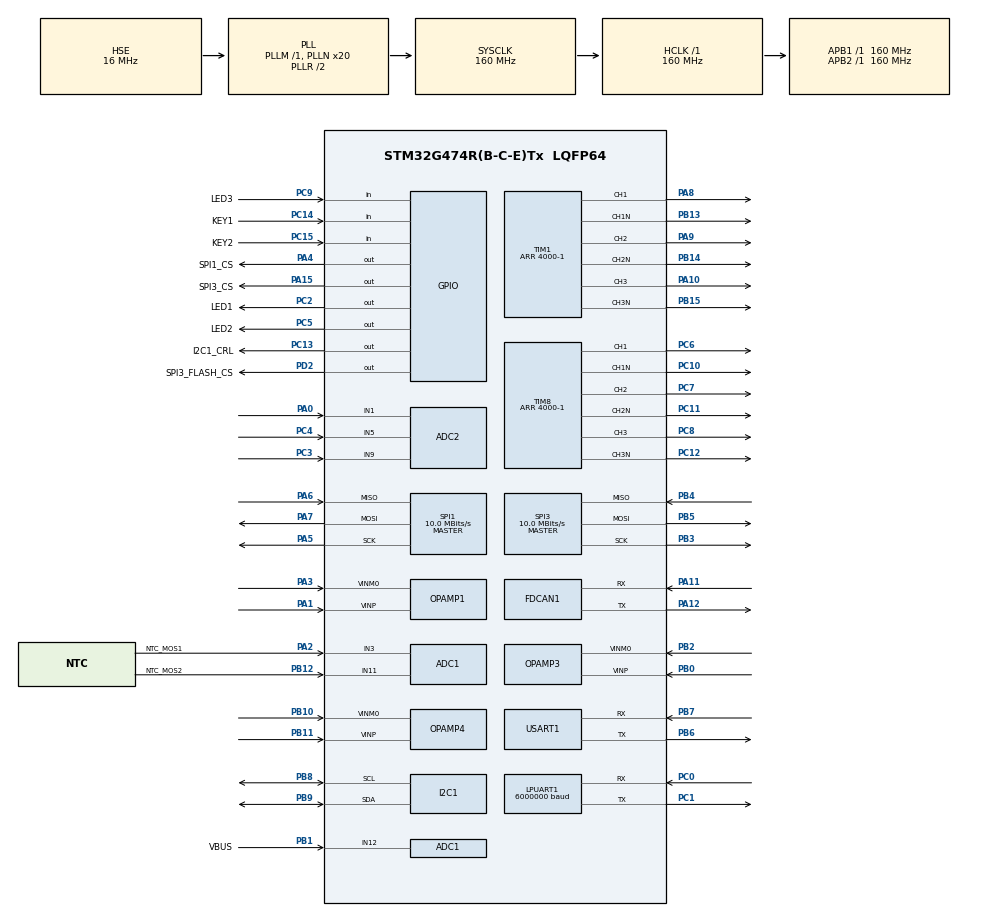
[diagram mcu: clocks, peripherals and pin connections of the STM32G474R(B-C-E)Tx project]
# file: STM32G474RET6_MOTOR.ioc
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ADC1.EnableInjectedConversion=ENABLE
ADC1.EnableRegularConversion=DISABLE
ADC1.ExternalTrigInjecConv=ADC_EXTERNALTRIGINJEC_T1_CC4
ADC1.InjNumberOfConversion=1
ADC1.InjectedChannel-4\#ChannelInjectedConversion=ADC_CHANNEL_VOPAMP1
ADC1.InjectedOffsetNumber-4\#ChannelInjectedConversion=ADC_OFFSET_NONE
ADC1.InjectedRank-4\#ChannelInjectedConversion=1
ADC1.InjectedSamplingTime-4\#ChannelInjectedConversion=ADC_SAMPLETIME_24CYCLES_5
ADC1.Rank1_Channel=ADC_CHANNEL_VOPAMP1
ADC1.master=1
ADC2.Channel-2\#ChannelRegularConversion=ADC_CHANNEL_1
ADC2.EnableInjectedConversion=ENABLE
ADC2.ExternalTrigInjecConv=ADC_EXTERNALTRIGINJEC_T8_CC4
ADC2.InjNumberOfConversion=3
ADC2.InjectedChannel-5\#ChannelInjectedConversion=ADC_CHANNEL_9
ADC2.InjectedChannel-6\#ChannelInjectedConversion=ADC_CHANNEL_1
ADC2.InjectedChannel-7\#ChannelInjectedConversion=ADC_CHANNEL_5
ADC2.InjectedOffsetNumber-5\#ChannelInjectedConversion=ADC_OFFSET_NONE
ADC2.InjectedOffsetNumber-6\#ChannelInjectedConversion=ADC_OFFSET_NONE
ADC2.InjectedOffsetNumber-7\#ChannelInjectedConversion=ADC_OFFSET_NONE
ADC2.InjectedRank-5\#ChannelInjectedConversion=1
ADC2.InjectedRank-6\#ChannelInjectedConversion=2
ADC2.InjectedRank-7\#ChannelInjectedConversion=3
ADC2.InjectedSamplingTime-5\#ChannelInjectedConversion=ADC_SAMPLETIME_24CYCLES_5
ADC2.InjectedSamplingTime-6\#ChannelInjectedConversion=ADC_SAMPLETIME_24CYCLES_5
ADC2.InjectedSamplingTime-7\#ChannelInjectedConversion=ADC_SAMPLETIME_24CYCLES_5
ADC2.NbrOfConversion=1
ADC2.NbrOfConversionFlag=1
ADC2.OffsetNumber-2\#ChannelRegularConversion=ADC_OFFSET_NONE
ADC2.Rank-2\#ChannelRegularConversion=1
ADC2.Rank1_Channel=ADC_CHANNEL_9
ADC2.Rank2_Channel=ADC_CHANNEL_1
ADC2.Rank3_Channel=ADC_CHANNEL_5
ADC2.SamplingTime-2\#ChannelRegularConversion=ADC_SAMPLETIME_2CYCLES_5
ADC3.EnableInjectedConversion=ENABLE
ADC3.EnableRegularConversion=DISABLE
ADC3.ExternalTrigInjecConv=ADC_EXTERNALTRIGINJEC_T1_CC4
ADC3.InjNumberOfConversion=1
ADC3.InjectedChannel-3\#ChannelInjectedConversion=ADC_CHANNEL_VOPAMP3_ADC3
ADC3.InjectedOffsetNumber-3\#ChannelInjectedConversion=ADC_OFFSET_NONE
ADC3.InjectedRank-3\#ChannelInjectedConversion=1
ADC3.InjectedSamplingTime-3\#ChannelInjectedConversion=ADC_SAMPLETIME_24CYCLES_5
ADC3.Rank1_Channel=ADC_CHANNEL_VOPAMP3_ADC3
ADC3.master=1
ADC5.EnableInjectedConversion=ENABLE
ADC5.EnableRegularConversion=DISABLE
ADC5.ExternalTrigInjecConv=ADC_EXTERNALTRIGINJEC_T1_CC4
ADC5.InjNumberOfConversion=1
ADC5.InjectedChannel-1\#ChannelInjectedConversion=ADC_CHANNEL_VOPAMP4
ADC5.InjectedOffsetNumber-1\#ChannelInjectedConversion=ADC_OFFSET_NONE
ADC5.InjectedRank-1\#ChannelInjectedConversion=1
ADC5.InjectedSamplingTime-1\#ChannelInjectedConversion=ADC_SAMPLETIME_24CYCLES_5
ADC5.Rank1_Channel=ADC_CHANNEL_VOPAMP4
Dma.LPUART1_RX.7.Direction=DMA_PERIPH_TO_MEMORY
Dma.LPUART1_RX.7.EventEnable=DISABLE
Dma.LPUART1_RX.7.Instance=DMA1_Channel8
Dma.LPUART1_RX.7.MemDataAlignment=DMA_MDATAALIGN_BYTE
Dma.LPUART1_RX.7.MemInc=DMA_MINC_ENABLE
Dma.LPUART1_RX.7.Mode=DMA_CIRCULAR
Dma.LPUART1_RX.7.PeriphDataAlignment=DMA_PDATAALIGN_BYTE
Dma.LPUART1_RX.7.PeriphInc=DMA_PINC_DISABLE
Dma.LPUART1_RX.7.Polarity=HAL_DMAMUX_REQ_GEN_RISING
Dma.LPUART1_RX.7.Priority=DMA_PRIORITY_LOW
Dma.LPUART1_RX.7.RequestNumber=1
Dma.LPUART1_RX.7.SignalID=NONE
Dma.LPUART1_RX.7.SyncEnable=DISABLE
Dma.LPUART1_RX.7.SyncPolarity=HAL_DMAMUX_SYNC_NO_EVENT
Dma.LPUART1_RX.7.SyncRequestNumber=1
Dma.LPUART1_RX.7.SyncSignalID=NONE
Dma.LPUART1_TX.0.Direction=DMA_MEMORY_TO_PERIPH
Dma.LPUART1_TX.0.EventEnable=DISABLE
Dma.LPUART1_TX.0.Instance=DMA1_Channel1
Dma.LPUART1_TX.0.MemDataAlignment=DMA_MDATAALIGN_BYTE
Dma.LPUART1_TX.0.MemInc=DMA_MINC_ENABLE
Dma.LPUART1_TX.0.Mode=DMA_NORMAL
Dma.LPUART1_TX.0.PeriphDataAlignment=DMA_PDATAALIGN_BYTE
Dma.LPUART1_TX.0.PeriphInc=DMA_PINC_DISABLE
Dma.LPUART1_TX.0.Polarity=HAL_DMAMUX_REQ_GEN_RISING
Dma.LPUART1_TX.0.Priority=DMA_PRIORITY_LOW
Dma.LPUART1_TX.0.RequestNumber=1
Dma.LPUART1_TX.0.SignalID=NONE
Dma.LPUART1_TX.0.SyncEnable=DISABLE
Dma.LPUART1_TX.0.SyncPolarity=HAL_DMAMUX_SYNC_NO_EVENT
Dma.LPUART1_TX.0.SyncRequestNumber=1
Dma.LPUART1_TX.0.SyncSignalID=NONE
Dma.Request0=LPUART1_TX
Dma.Request1=SPI1_RX
Dma.Request2=SPI1_TX
Dma.Request3=USART1_TX
Dma.Request4=USART1_RX
Dma.Request5=SPI3_RX
Dma.Request6=SPI3_TX
Dma.Request7=LPUART1_RX
Dma.SPI1_RX.1.Direction=DMA_PERIPH_TO_MEMORY
Dma.SPI1_RX.1.EventEnable=DISABLE
Dma.SPI1_RX.1.Instance=DMA1_Channel2
Dma.SPI1_RX.1.MemDataAlignment=DMA_MDATAALIGN_HALFWORD
Dma.SPI1_RX.1.MemInc=DMA_MINC_ENABLE
Dma.SPI1_RX.1.Mode=DMA_NORMAL
Dma.SPI1_RX.1.PeriphDataAlignment=DMA_PDATAALIGN_HALFWORD
Dma.SPI1_RX.1.PeriphInc=DMA_PINC_DISABLE
Dma.SPI1_RX.1.Polarity=HAL_DMAMUX_REQ_GEN_RISING
Dma.SPI1_RX.1.Priority=DMA_PRIORITY_LOW
Dma.SPI1_RX.1.RequestNumber=1
Dma.SPI1_RX.1.SignalID=NONE
Dma.SPI1_RX.1.SyncEnable=DISABLE
Dma.SPI1_RX.1.SyncPolarity=HAL_DMAMUX_SYNC_NO_EVENT
Dma.SPI1_RX.1.SyncRequestNumber=1
Dma.SPI1_RX.1.SyncSignalID=NONE
Dma.SPI1_TX.2.Direction=DMA_MEMORY_TO_PERIPH
Dma.SPI1_TX.2.EventEnable=DISABLE
Dma.SPI1_TX.2.Instance=DMA1_Channel3
Dma.SPI1_TX.2.MemDataAlignment=DMA_MDATAALIGN_HALFWORD
Dma.SPI1_TX.2.MemInc=DMA_MINC_ENABLE
Dma.SPI1_TX.2.Mode=DMA_NORMAL
Dma.SPI1_TX.2.PeriphDataAlignment=DMA_PDATAALIGN_HALFWORD
Dma.SPI1_TX.2.PeriphInc=DMA_PINC_DISABLE
Dma.SPI1_TX.2.Polarity=HAL_DMAMUX_REQ_GEN_RISING
Dma.SPI1_TX.2.Priority=DMA_PRIORITY_LOW
Dma.SPI1_TX.2.RequestNumber=1
Dma.SPI1_TX.2.SignalID=NONE
Dma.SPI1_TX.2.SyncEnable=DISABLE
Dma.SPI1_TX.2.SyncPolarity=HAL_DMAMUX_SYNC_NO_EVENT
Dma.SPI1_TX.2.SyncRequestNumber=1
Dma.SPI1_TX.2.SyncSignalID=NONE
Dma.SPI3_RX.5.Direction=DMA_PERIPH_TO_MEMORY
Dma.SPI3_RX.5.EventEnable=DISABLE
Dma.SPI3_RX.5.Instance=DMA1_Channel6
Dma.SPI3_RX.5.MemDataAlignment=DMA_MDATAALIGN_HALFWORD
Dma.SPI3_RX.5.MemInc=DMA_MINC_ENABLE
Dma.SPI3_RX.5.Mode=DMA_NORMAL
Dma.SPI3_RX.5.PeriphDataAlignment=DMA_PDATAALIGN_HALFWORD
Dma.SPI3_RX.5.PeriphInc=DMA_PINC_DISABLE
Dma.SPI3_RX.5.Polarity=HAL_DMAMUX_REQ_GEN_RISING
Dma.SPI3_RX.5.Priority=DMA_PRIORITY_LOW
Dma.SPI3_RX.5.RequestNumber=1
Dma.SPI3_RX.5.SignalID=NONE
Dma.SPI3_RX.5.SyncEnable=DISABLE
Dma.SPI3_RX.5.SyncPolarity=HAL_DMAMUX_SYNC_NO_EVENT
Dma.SPI3_RX.5.SyncRequestNumber=1
Dma.SPI3_RX.5.SyncSignalID=NONE
Dma.SPI3_TX.6.Direction=DMA_MEMORY_TO_PERIPH
Dma.SPI3_TX.6.EventEnable=DISABLE
Dma.SPI3_TX.6.Instance=DMA1_Channel7
Dma.SPI3_TX.6.MemDataAlignment=DMA_MDATAALIGN_HALFWORD
Dma.SPI3_TX.6.MemInc=DMA_MINC_ENABLE
Dma.SPI3_TX.6.Mode=DMA_NORMAL
Dma.SPI3_TX.6.PeriphDataAlignment=DMA_PDATAALIGN_HALFWORD
Dma.SPI3_TX.6.PeriphInc=DMA_PINC_DISABLE
Dma.SPI3_TX.6.Polarity=HAL_DMAMUX_REQ_GEN_RISING
Dma.SPI3_TX.6.Priority=DMA_PRIORITY_LOW
Dma.SPI3_TX.6.RequestNumber=1
Dma.SPI3_TX.6.SignalID=NONE
Dma.SPI3_TX.6.SyncEnable=DISABLE
Dma.SPI3_TX.6.SyncPolarity=HAL_DMAMUX_SYNC_NO_EVENT
Dma.SPI3_TX.6.SyncRequestNumber=1
Dma.SPI3_TX.6.SyncSignalID=NONE
Dma.USART1_RX.4.Direction=DMA_PERIPH_TO_MEMORY
Dma.USART1_RX.4.EventEnable=DISABLE
Dma.USART1_RX.4.Instance=DMA1_Channel5
Dma.USART1_RX.4.MemDataAlignment=DMA_MDATAALIGN_BYTE
Dma.USART1_RX.4.MemInc=DMA_MINC_ENABLE
Dma.USART1_RX.4.Mode=DMA_CIRCULAR
Dma.USART1_RX.4.PeriphDataAlignment=DMA_PDATAALIGN_BYTE
Dma.USART1_RX.4.PeriphInc=DMA_PINC_DISABLE
Dma.USART1_RX.4.Polarity=HAL_DMAMUX_REQ_GEN_RISING
Dma.USART1_RX.4.Priority=DMA_PRIORITY_LOW
Dma.USART1_RX.4.RequestNumber=1
Dma.USART1_RX.4.SignalID=NONE
Dma.USART1_RX.4.SyncEnable=DISABLE
Dma.USART1_RX.4.SyncPolarity=HAL_DMAMUX_SYNC_NO_EVENT
Dma.USART1_RX.4.SyncRequestNumber=1
Dma.USART1_RX.4.SyncSignalID=NONE
Dma.USART1_TX.3.Direction=DMA_MEMORY_TO_PERIPH
Dma.USART1_TX.3.EventEnable=DISABLE
Dma.USART1_TX.3.Instance=DMA1_Channel4
Dma.USART1_TX.3.MemDataAlignment=DMA_MDATAALIGN_BYTE
Dma.USART1_TX.3.MemInc=DMA_MINC_ENABLE
Dma.USART1_TX.3.Mode=DMA_NORMAL
Dma.USART1_TX.3.PeriphDataAlignment=DMA_PDATAALIGN_BYTE
Dma.USART1_TX.3.PeriphInc=DMA_PINC_DISABLE
Dma.USART1_TX.3.Polarity=HAL_DMAMUX_REQ_GEN_RISING
Dma.USART1_TX.3.Priority=DMA_PRIORITY_LOW
Dma.USART1_TX.3.RequestNumber=1
Dma.USART1_TX.3.SignalID=NONE
Dma.USART1_TX.3.SyncEnable=DISABLE
Dma.USART1_TX.3.SyncPolarity=HAL_DMAMUX_SYNC_NO_EVENT
Dma.USART1_TX.3.SyncRequestNumber=1
Dma.USART1_TX.3.SyncSignalID=NONE
FDCAN1.CalculateBaudRateNominal=1000000
FDCAN1.CalculateTimeBitNominal=1000
FDCAN1.CalculateTimeQuantumNominal=62.5
FDCAN1.DataPrescaler=2
FDCAN1.DataTimeSeg1=13
FDCAN1.DataTimeSeg2=2
FDCAN1.FrameFormat=FDCAN_FRAME_FD_BRS
FDCAN1.NominalPrescaler=10
FDCAN1.NominalSyncJumpWidth=3
FDCAN1.NominalTimeSeg1=12
FDCAN1.NominalTimeSeg2=3
FDCAN1.StdFiltersNbr=28
FREERTOS.Tasks01=defaultTask,24,128,StartDefaultTask,Default,NULL,Dynamic,NULL,NULL;UART_DMA_DEBUG,40,128,UART_DMA_DEBUG_TASK,As weak,NULL,Dynamic,NULL,NULL;CLI_ShellTask,8,256,CLI_Shell_Task,As weak,NULL,Dynamic,NULL,NULL
FREERTOS.configCHECK_FOR_STACK_OVERFLOW=2
FREERTOS.configLIBRARY_MAX_SYSCALL_INTERRUPT_PRIORITY=5
FREERTOS.configTOTAL_HEAP_SIZE=8192
FREERTOS.configUSE_MALLOC_FAILED_HOOK=1
I2C1.Timing=0x30D29DE4
LPUART1.BaudRate=6000000
Mcu.Family=STM32G4
Mcu.Name=STM32G474R(B-C-E)Tx
Mcu.Package=LQFP64
NVIC.ADC1_2_IRQn=true\:2\:0\:true\:false\:true\:false\:true\:true\:true
NVIC.ADC3_IRQn=true\:2\:0\:true\:false\:true\:false\:true\:true\:true
NVIC.ADC5_IRQn=true\:2\:0\:true\:false\:true\:false\:true\:true\:true
NVIC.DMA1_Channel1_IRQn=true\:4\:0\:true\:false\:true\:false\:false\:true\:true
NVIC.DMA1_Channel2_IRQn=true\:2\:0\:true\:false\:false\:false\:false\:true\:true
NVIC.DMA1_Channel3_IRQn=true\:2\:0\:true\:false\:false\:false\:false\:true\:true
NVIC.DMA1_Channel4_IRQn=true\:5\:0\:true\:false\:true\:false\:false\:true\:true
NVIC.DMA1_Channel5_IRQn=true\:5\:0\:true\:false\:true\:false\:false\:true\:true
NVIC.DMA1_Channel6_IRQn=true\:5\:0\:false\:false\:true\:true\:false\:true\:true
NVIC.DMA1_Channel7_IRQn=true\:5\:0\:false\:false\:true\:true\:false\:true\:true
NVIC.DMA1_Channel8_IRQn=true\:5\:0\:false\:false\:true\:true\:false\:true\:true
NVIC.FDCAN1_IT0_IRQn=true\:3\:0\:true\:false\:true\:false\:true\:true\:true
NVIC.LPUART1_IRQn=true\:4\:0\:true\:false\:true\:false\:true\:true\:true
NVIC.PriorityGroup=NVIC_PRIORITYGROUP_4
NVIC.TIM1_BRK_TIM15_IRQn=true\:1\:0\:true\:false\:true\:false\:true\:true\:true
NVIC.TIM1_UP_TIM16_IRQn=true\:1\:0\:true\:false\:true\:false\:true\:true\:true
NVIC.TIM6_DAC_IRQn=true\:3\:0\:true\:false\:true\:false\:true\:true\:true
NVIC.TIM7_DAC_IRQn=true\:15\:0\:false\:false\:true\:false\:false\:true\:true
NVIC.TIM8_BRK_IRQn=true\:1\:0\:true\:false\:true\:false\:true\:true\:true
NVIC.TIM8_UP_IRQn=true\:1\:0\:true\:false\:true\:false\:true\:true\:true
NVIC.TimeBase=TIM7_DAC_IRQn
NVIC.TimeBaseIP=TIM7
NVIC.USART1_IRQn=true\:4\:0\:true\:false\:true\:false\:true\:true\:true
OPAMP1.PgaGain=OPAMP_PGA_GAIN_8_OR_MINUS_7
OPAMP3.PgaGain=OPAMP_PGA_GAIN_8_OR_MINUS_7
OPAMP4.PgaGain=OPAMP_PGA_GAIN_8_OR_MINUS_7
OPAMP4.PowerMode=OPAMP_POWERMODE_NORMALSPEED
PA0.Mode=IN1-Single-Ended
PA0.Signal=ADC2_IN1
PA1.Mode=PGA Internally connected_IO0_BIAS
PA1.Signal=OPAMP1_VINP
PA10.Signal=S_TIM1_CH3
PA11.GPIO_Speed=GPIO_SPEED_FREQ_VERY_HIGH
PA11.Mode=FDCAN_Activate
PA11.Signal=FDCAN1_RX
PA12.GPIO_Speed=GPIO_SPEED_FREQ_VERY_HIGH
PA12.Mode=FDCAN_Activate
PA12.Signal=FDCAN1_TX
PA13.Mode=Serial_Wire
PA13.Signal=SYS_JTMS-SWDIO
PA14.Mode=Serial_Wire
PA14.Signal=SYS_JTCK-SWCLK
PA15.GPIO_Label=SPI3_CS
PA15.GPIO_PuPd=GPIO_PULLUP
PA15.GPIO_Speed=GPIO_SPEED_FREQ_VERY_HIGH
PA15.PinState=GPIO_PIN_SET
PA15.Signal=GPIO_Output
PA2.GPIO_Label=NTC_MOS1
PA2.Mode=IN3-Single-Ended
PA2.Signal=ADC1_IN3
PA3.Mode=PGA Internally connected_IO0_BIAS
PA3.Signal=OPAMP1_VINM0
PA4.GPIO_Label=SPI1_CS
PA4.GPIO_Speed=GPIO_SPEED_FREQ_VERY_HIGH
PA4.Signal=GPIO_Output
PA5.GPIO_Speed=GPIO_SPEED_FREQ_VERY_HIGH
PA5.Mode=Full_Duplex_Master
PA5.Signal=SPI1_SCK
PA6.GPIO_Speed=GPIO_SPEED_FREQ_VERY_HIGH
PA6.Mode=Full_Duplex_Master
PA6.Signal=SPI1_MISO
PA7.GPIO_Speed=GPIO_SPEED_FREQ_VERY_HIGH
PA7.Mode=Full_Duplex_Master
PA7.Signal=SPI1_MOSI
PA8.Signal=S_TIM1_CH1
PA9.Signal=S_TIM1_CH2
PB0.Mode=PGA Internally connected_IO0_BIAS
PB0.Signal=OPAMP3_VINP
PB1.GPIO_Label=VBUS
PB1.Mode=IN12-Single-Ended
PB1.Signal=ADC1_IN12
PB10.Mode=PGA Internally connected_IO0_BIAS
PB10.Signal=OPAMP4_VINM0
PB11.Mode=PGA Internally connected_IO0_BIAS
PB11.Signal=OPAMP4_VINP
PB12.GPIO_Label=NTC_MOS2
PB12.Mode=IN11-Single-Ended
PB12.Signal=ADC1_IN11
PB13.Mode=PWM Generation1 CH1 CH1N
PB13.Signal=TIM1_CH1N
PB14.Mode=PWM Generation2 CH2 CH2N
PB14.Signal=TIM1_CH2N
PB15.Mode=PWM Generation3 CH3 CH3N
PB15.Signal=TIM1_CH3N
PB2.Mode=PGA Internally connected_IO0_BIAS
PB2.Signal=OPAMP3_VINM0
PB3.Mode=Full_Duplex_Master
PB3.Signal=SPI3_SCK
PB4.Mode=Full_Duplex_Master
PB4.Signal=SPI3_MISO
PB5.Mode=Full_Duplex_Master
PB5.Signal=SPI3_MOSI
PB6.Mode=Asynchronous
PB6.Signal=USART1_TX
PB7.Mode=Asynchronous
PB7.Signal=USART1_RX
PB8-BOOT0.Mode=I2C
PB8-BOOT0.Signal=I2C1_SCL
PB9.Mode=I2C
PB9.Signal=I2C1_SDA
PC0.GPIO_Speed=GPIO_SPEED_FREQ_VERY_HIGH
PC0.Mode=Asynchronous
PC0.Signal=LPUART1_RX
PC1.GPIO_Speed=GPIO_SPEED_FREQ_VERY_HIGH
PC1.Mode=Asynchronous
PC1.Signal=LPUART1_TX
PC10.Mode=PWM Generation1 CH1 CH1N
PC10.Signal=TIM8_CH1N
PC11.Mode=PWM Generation2 CH2 CH2N
PC11.Signal=TIM8_CH2N
PC12.Mode=PWM Generation3 CH3 CH3N
PC12.Signal=TIM8_CH3N
PC13.GPIO_Label=I2C1_CRL
PC13.GPIO_PuPd=GPIO_PULLDOWN
PC13.Signal=GPIO_Output
PC14-OSC32_IN.GPIO_Label=KEY1
PC14-OSC32_IN.Signal=GPIO_Input
PC15-OSC32_OUT.GPIO_Label=KEY2
PC15-OSC32_OUT.Signal=GPIO_Input
PC2.GPIO_Label=LED1
PC2.GPIO_PuPd=GPIO_PULLDOWN
PC2.Signal=GPIO_Output
PC3.Mode=IN9-Single-Ended
PC3.Signal=ADC2_IN9
PC4.Mode=IN5-Single-Ended
PC4.Signal=ADC2_IN5
PC5.GPIO_Label=LED2
PC5.GPIO_PuPd=GPIO_PULLDOWN
PC5.GPIO_Speed=GPIO_SPEED_FREQ_VERY_HIGH
PC5.Signal=GPIO_Output
PC6.Signal=S_TIM8_CH1
PC7.Signal=S_TIM8_CH2
PC8.Signal=S_TIM8_CH3
PC9.GPIO_Label=LED3
PC9.GPIO_PuPd=GPIO_PULLDOWN
PC9.Signal=GPIO_Input
PD2.GPIO_Label=SPI3_FLASH_CS
PD2.GPIO_PuPd=GPIO_PULLUP
PD2.PinState=GPIO_PIN_SET
PD2.Signal=GPIO_Output
PF0-OSC_IN.Mode=HSE-External-Oscillator
PF0-OSC_IN.Signal=RCC_OSC_IN
PF1-OSC_OUT.Mode=HSE-External-Oscillator
PF1-OSC_OUT.Signal=RCC_OSC_OUT
ProjectManager.HeapSize=0x200
ProjectManager.StackSize=0x400
ProjectManager.TargetToolchain=MDK-ARM V5.32
RCC.ADC12Freq_Value=160000000
RCC.ADC345Freq_Value=160000000
RCC.AHBFreq_Value=160000000
RCC.APB1Freq_Value=160000000
RCC.APB1TimFreq_Value=160000000
RCC.APB2Freq_Value=160000000
RCC.APB2TimFreq_Value=160000000
RCC.CortexFreq_Value=160000000
RCC.EXTERNAL_CLOCK_VALUE=12288000
RCC.HCLKFreq_Value=160000000
RCC.HSE_VALUE=16000000
RCC.HSI48_VALUE=48000000
RCC.HSI_VALUE=16000000
RCC.LSE_VALUE=32768
RCC.PLLN=20
RCC.PLLSourceVirtual=RCC_PLLSOURCE_HSE
RCC.SYSCLKFreq_VALUE=160000000
RCC.SYSCLKSource=RCC_SYSCLKSOURCE_PLLCLK
RCC.USBFreq_Value=160000000
RCC.VCOOutputFreq_Value=320000000
SH.S_TIM1_CH1.0=TIM1_CH1,PWM Generation1 CH1 CH1N
SH.S_TIM1_CH2.0=TIM1_CH2,PWM Generation2 CH2 CH2N
SH.S_TIM1_CH3.0=TIM1_CH3,PWM Generation3 CH3 CH3N
SH.S_TIM8_CH1.0=TIM8_CH1,PWM Generation1 CH1 CH1N
SH.S_TIM8_CH2.0=TIM8_CH2,PWM Generation2 CH2 CH2N
SH.S_TIM8_CH3.0=TIM8_CH3,PWM Generation3 CH3 CH3N
SPI1.BaudRatePrescaler=SPI_BAUDRATEPRESCALER_16
SPI1.CLKPhase=SPI_PHASE_2EDGE
SPI1.CalculateBaudRate=10.0 MBits/s
SPI1.DataSize=SPI_DATASIZE_16BIT
SPI1.Direction=SPI_DIRECTION_2LINES
SPI1.Mode=SPI_MODE_MASTER
SPI1.VirtualType=VM_MASTER
SPI3.BaudRatePrescaler=SPI_BAUDRATEPRESCALER_16
SPI3.CLKPhase=SPI_PHASE_2EDGE
SPI3.CLKPolarity=SPI_POLARITY_HIGH
SPI3.CalculateBaudRate=10.0 MBits/s
SPI3.DataSize=SPI_DATASIZE_16BIT
SPI3.Direction=SPI_DIRECTION_2LINES
SPI3.Mode=SPI_MODE_MASTER
SPI3.VirtualType=VM_MASTER
TIM1.BreakFilter=2
TIM1.Channel-PWM\ Generation1\ CH1\ CH1N=TIM_CHANNEL_1
TIM1.Channel-PWM\ Generation2\ CH2\ CH2N=TIM_CHANNEL_2
TIM1.Channel-PWM\ Generation3\ CH3\ CH3N=TIM_CHANNEL_3
TIM1.Channel-PWM\ Generation4\ No\ Output=TIM_CHANNEL_4
TIM1.ClockDivision=TIM_CLOCKDIVISION_DIV4
TIM1.CounterMode=TIM_COUNTERMODE_CENTERALIGNED1
TIM1.DeadTime=120
TIM1.PeriodNoDither=4000-1
TIM1.PulseNoDither_1=2000
TIM1.PulseNoDither_2=2000
TIM1.PulseNoDither_3=2000
TIM1.PulseNoDither_4=2000-2
TIM1.TIM_MasterOutputTrigger=TIM_TRGO_OC4REF
TIM6.AutoReloadPreload=TIM_AUTORELOAD_PRELOAD_ENABLE
TIM6.PeriodNoDither=1999
TIM6.Prescaler=79
TIM8.BreakFilter=2
TIM8.Channel-PWM\ Generation1\ CH1\ CH1N=TIM_CHANNEL_1
TIM8.Channel-PWM\ Generation2\ CH2\ CH2N=TIM_CHANNEL_2
TIM8.Channel-PWM\ Generation3\ CH3\ CH3N=TIM_CHANNEL_3
TIM8.Channel-PWM\ Generation4\ No\ Output=TIM_CHANNEL_4
TIM8.ClockDivision=TIM_CLOCKDIVISION_DIV4
TIM8.CounterMode=TIM_COUNTERMODE_CENTERALIGNED1
TIM8.DeadTime=4
TIM8.PeriodNoDither=4000-1
TIM8.PulseNoDither_1=2000
TIM8.PulseNoDither_2=2000
TIM8.PulseNoDither_3=2000
TIM8.PulseNoDither_4=3000-2
TIM8.TIM_MasterOutputTrigger=TIM_TRGO_OC4REF
USART1.VirtualMode-Asynchronous=VM_ASYNC
VP_ADC1_OPAMP_INTERNAL1.Mode=IN-OPAMP1
VP_ADC1_TempSens_Input.Mode=IN-TempSens
VP_ADC1_Vref_Input.Mode=IN-Vrefint
VP_ADC3_OPAMP_INTERNAL3.Mode=IN-OPAMP3
VP_ADC5_OPAMP_INTERNAL4.Mode=IN-OPAMP4
VP_CORDIC_VS_CORDIC.Mode=CORDIC_Activate
VP_FREERTOS_VS_CMSIS_V2.Mode=CMSIS_V2
VP_SYS_VS_DBSignals.Mode=DisableDeadBatterySignals
VP_SYS_VS_tim7.Mode=TIM7
VP_TIM15_VS_OPM.Mode=OPM_bit
VP_TIM1_VS_ClockSourceINT.Mode=Internal
VP_TIM1_VS_no_output4.Mode=PWM Generation4 No Output
VP_TIM6_VS_ClockSourceINT.Mode=Enable_Timer
VP_TIM8_VS_ClockSourceINT.Mode=Internal
VP_TIM8_VS_no_output4.Mode=PWM Generation4 No Output
board=custom

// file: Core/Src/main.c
/* USER CODE BEGIN Header */
/**
  ******************************************************************************
  * @file           : main.c
  * @brief          : Main program body
  ******************************************************************************
  * @attention
  *
  * Copyright (c) 2026 STMicroelectronics.
  * All rights reserved.
  *
  * This software is licensed under terms that can be found in the LICENSE file
  * in the root directory of this software component.
  * If no LICENSE file comes with this software, it is provided AS-IS.
  *
  ******************************************************************************
  */
/* USER CODE END Header */
#include "main.h"
#include "cmsis_os.h"
#include "adc.h"
#include "cordic.h"
#include "dma.h"
#include "fdcan.h"
#include "i2c.h"
#include "usart.h"
#include "opamp.h"
#include "spi.h"
#include "tim.h"
#include "gpio.h"

/* USER CODE BEGIN Includes */
#include "COMMUNICATION_FDCAN.h"
#include "app_axis_jeoc.h"
#include "board_encoder.h"
#include "encoder.h"
#include "app_uart_dma_debug.h"
#include "bsp_axes.h"
#include "encoder_cal.h"
#include "factory_nvm.h"
#include "irq_priority.h"
#include "motor_current.h"
#include "motor_params_m1.h"
#include "experiment/exp_runner.h"
#include "motor_phase_binding.h"
#include "phase_detect.h"
#include "time_port.h"
/* USER CODE END Includes */

void SystemClock_Config(void);
void MX_FREERTOS_Init(void);

/* USER CODE BEGIN 0 */
/* M1 20kHz 控制节拍�??? ADC2 JEOC；TIM8 �??? PWM+CH4 触发，无 Update IT */
#define BRINGUP_ADC_TEST 1

uint16_t A,B;
volatile uint8_t cnt=0;
/* adc_read[3]: shunt diag buffer in config/bsp_axes.c */

static void dbg_snapshot_opamp_ch(uint8_t idx, OPAMP_TypeDef *opamp)
{
  uint32_t csr = opamp->CSR;
  DBG.opamp[idx].csr = csr;
  DBG.opamp[idx].en = (csr & OPAMP_CSR_OPAMPxEN) ? 1U : 0U;
  DBG.opamp[idx].intout = (csr & OPAMP_CSR_OPAMPINTEN) ? 1U : 0U;
  DBG.opamp[idx].pggain = (uint16_t)((csr & OPAMP_CSR_PGGAIN_Msk) >> OPAMP_CSR_PGGAIN_Pos);
}

static void dbg_snapshot_m1_adc(const bsp_axis_t *m1)
{
  uint8_t i;

  for (i = 0U; i < 3U; i++) {
    DBG.adc_offset[i] = m1->adc_cfg.ch[i].offset;
    DBG.adc_zeroed[i] = (int16_t)((int32_t)m1->adc.raw[i] - m1->adc_cfg.ch[i].offset);
    DBG.adc_reg[i] = m1->adc.raw[i];
  }
  DBG.adc_ia = m1->adc.ia;
  DBG.adc_ib = m1->adc.ib;
  DBG.adc_ic = m1->adc.ic;
}

static void dbg_snapshot_phase_binding(void)
{
  const motor_phase_binding_t *b = motor_phase_binding_get();
  uint8_t i;

  for (i = 0U; i < 3U; i++) {
    DBG.pwm_ch_to_phase_dbg[i] = b->pwm_ch_to_phase[i];
    DBG.adc_rank_to_phase_dbg[i] = b->adc_rank_to_phase[i];
    DBG.phase_sign_dbg[i] = b->phase_sign[i];
  }
}

/** 2325 Test3 sign；rank 排列�?? M1_ADC_RANK_SWAP_IAIC �?? adc.c 注入顺序�??�?? */
static void m1_apply_binding_2325(void)
{
  motor_phase_binding_t b;

  motor_phase_binding_set_identity(&b);
#if M1_ADC_RANK_SWAP_IAIC
  /* JDR1=PC4(ia) JDR2=PA0(ib) JDR3=PC3(ic) */
  b.adc_rank_to_phase[0] = 0U;
  b.adc_rank_to_phase[1] = 1U;
  b.adc_rank_to_phase[2] = 2U;
#else
  /* JDR1=PC3(ic) JDR2=PA0(ib) JDR3=PC4(ia) */
  b.adc_rank_to_phase[0] = 2U;
  b.adc_rank_to_phase[1] = 1U;
  b.adc_rank_to_phase[2] = 0U;
#endif
  b.phase_sign[0] = -1;
  b.phase_sign[1] = -1;
  b.phase_sign[2] = -1;
  motor_phase_binding_set_active(&b, true);
}

static void dbg_snapshot_all(void)
{
  dbg_snapshot_opamp_ch(0, OPAMP1);
  dbg_snapshot_opamp_ch(1, OPAMP3);
  dbg_snapshot_opamp_ch(2, OPAMP4);
  DBG.opamp[0].hal_state = hopamp1.State;
  DBG.opamp[1].hal_state = hopamp3.State;
  DBG.opamp[2].hal_state = hopamp4.State;
  DBG.adc_shunt[0] = adc_read[0];
  DBG.adc_shunt[1] = adc_read[1];
  DBG.adc_shunt[2] = adc_read[2];
  /* M1 adc_reg[] ? app_axis_jeoc_snapshot_m1_adc ???????? */
}
/* USER CODE END 0 */

int main(void)
{

  /* MCU Configuration--------------------------------------------------------*/

  /* Reset of all peripherals, Initializes the Flash interface and the Systick. */
  HAL_Init();

  /* Configure the system clock */
  SystemClock_Config();

  /* Initialize all configured peripherals */
  MX_GPIO_Init();
  MX_DMA_Init();
  MX_SPI1_Init();
  MX_USART1_UART_Init();
  MX_FDCAN1_Init();
  MX_SPI3_Init();
  MX_TIM1_Init();
  MX_TIM8_Init();
  MX_ADC2_Init();
  MX_OPAMP1_Init();
  MX_OPAMP3_Init();
  MX_OPAMP4_Init();
  MX_ADC1_Init();
  MX_ADC3_Init();
  MX_ADC5_Init();
  MX_I2C1_Init();
  MX_LPUART1_UART_Init();
  MX_TIM15_Init();
  MX_CORDIC_Init();
  MX_TIM6_Init();
  /* USER CODE BEGIN 2 */
  irq_priority_apply();
  /* DWT 毫秒口：标定超时先于 telem_bringup_init 也可用�?? */
  time_port_init(SystemCoreClock / 1000000u);
  if (HAL_OPAMP_Start(&hopamp1) != HAL_OK) { Error_Handler(); }
  if (HAL_OPAMP_Start(&hopamp3) != HAL_OK) { Error_Handler(); }
  if (HAL_OPAMP_Start(&hopamp4) != HAL_OK) { Error_Handler(); }
  HAL_Delay(10);
HAL_ADCEx_Calibration_Start(&hadc1,	ADC_SINGLE_ENDED);
HAL_ADCEx_Calibration_Start(&hadc2,	ADC_SINGLE_ENDED);
HAL_ADCEx_Calibration_Start(&hadc3,	ADC_SINGLE_ENDED);
HAL_ADCEx_Calibration_Start(&hadc5,	ADC_SINGLE_ENDED);
	HAL_ADCEx_InjectedStart_IT(&hadc1);
  	__HAL_ADC_CLEAR_FLAG(&hadc1, ADC_FLAG_JEOC);
	HAL_ADCEx_InjectedStart_IT(&hadc2);
	__HAL_ADC_CLEAR_FLAG(&hadc2, ADC_FLAG_JEOC);
	HAL_ADCEx_InjectedStart_IT(&hadc3);
	__HAL_ADC_CLEAR_FLAG(&hadc3, ADC_FLAG_JEOC);
	HAL_ADCEx_InjectedStart_IT(&hadc5);
	__HAL_ADC_CLEAR_FLAG(&hadc5, ADC_FLAG_JEOC);
	bsp_init();
	motor_current_init(bsp_axis(BSP_AXIS_M1));
#if M1_OUTER_IN_TIM6
	/* 2kHz outer-loop timer (TIM6). Must start AFTER motor_current_init(),
	   otherwise the ISR would run the outer loop on an uninitialised ctx. */
	if (HAL_TIM_Base_Start_IT(&htim6) != HAL_OK) {
		Error_Handler();
	}
#endif
#if M1_EXP_FRAMEWORK_ENABLE && \
    (M1_EXP_BOOT_UD_CAL || M1_EXP_BOOT_REV141 || M1_EXP_BOOT_CALIB_CHAIN)
	/* pilot: boot the experiment selected by build switches. */
	exp_runner_init();
#if M1_EXP_BOOT_CALIB_CHAIN
	(void)exp_runner_select(EXP_ID_CALIB_CHAIN);
#elif M1_EXP_BOOT_REV141
	(void)exp_runner_select(EXP_ID_REV141);
#else
	(void)exp_runner_select(EXP_ID_UD_CAL);
#endif
	exp_runner_arm(motor_current_ctx(bsp_axis(BSP_AXIS_M1)));
#endif
	if (!bsp_axis_adc_calibrate_zero(BSP_AXIS_M1, 20, 100, 50)) {
		Error_Handler();
	}
	dbg_snapshot_m1_adc(bsp_axis(BSP_AXIS_M1));
	dbg_snapshot_all();

 FDCAN1_Config();
  /*
   * M2 AS5047?SPI3 / PA15????????????? FOC ???
   * ?????? M1?SPI1/PA4?? board_encoder_m1_init??
   * CS ????????????MX_SPI3_Init ???????? M2?
   */
  HAL_GPIO_WritePin(SPI3_CS_GPIO_Port, SPI3_CS_Pin, GPIO_PIN_SET);
  HAL_GPIO_WritePin(SPI3_FLASH_CS_GPIO_Port, SPI3_FLASH_CS_Pin, GPIO_PIN_SET);
  telem_bringup_init();
  telem_encoder_profile_bind(bsp_axis(BSP_AXIS_M1)->enc);

  /* M1: TIM8 PWM + CH4→ADC2；锁转子标定须在 Base+CH4+�??? PWM 运行后进�??? */
  HAL_TIM_PWM_Start(&htim8, TIM_CHANNEL_1);
  HAL_TIM_PWM_Start(&htim8, TIM_CHANNEL_2);
  HAL_TIM_PWM_Start(&htim8, TIM_CHANNEL_3);
  HAL_TIMEx_PWMN_Start(&htim8, TIM_CHANNEL_1);
  HAL_TIMEx_PWMN_Start(&htim8, TIM_CHANNEL_2);
  HAL_TIMEx_PWMN_Start(&htim8, TIM_CHANNEL_3);
  HAL_TIM_PWM_Start(&htim8, TIM_CHANNEL_4);
  HAL_TIM_Base_Start(&htim8);

  DBG.phase_cal_ok = 0U;
  DBG.binding_loaded = 0U;
  DBG.phase_cal_fail = 0U;
  DBG.phase_cal_fail_reason = PHASE_CAL_FAIL_NONE;
  DBG.phase_cal_channels_done = 0U;
  DBG.phase_cal_last_snr = 0.0f;

#if M1_APPLY_PHASE_BINDING && !M1_RUN_PHASE_CAL
#if M1_BINDING_OVERRIDE_2325
  m1_apply_binding_2325();
  DBG.binding_loaded = 1U;
  dbg_snapshot_phase_binding();
#else
  if (factory_nvm_apply_phase_binding()) {
    DBG.binding_loaded = 1U;
    dbg_snapshot_phase_binding();
  } else {
    motor_phase_binding_t id;

    motor_phase_binding_set_identity(&id);
    motor_phase_binding_set_active(&id, false);
  }
#endif
#endif

#if M1_RUN_PHASE_CAL
  {
    motor_phase_binding_t binding;
    bsp_axis_t *m1 = bsp_axis(BSP_AXIS_M1);

    if (phase_detect_run(&m1->adc, m1->pwm, &binding, false)) {
      DBG.phase_cal_ok = 1U;
      DBG.phase_cal_fail = 0U;
      DBG.phase_cal_fail_reason = PHASE_CAL_FAIL_NONE;
      dbg_snapshot_phase_binding();
    } else {
      motor_phase_binding_t id;

      motor_phase_binding_set_identity(&id);
      motor_phase_binding_set_active(&id, false);
      DBG.phase_cal_ok = 0U;
      DBG.phase_cal_fail = 1U;
    }
    g_cal_hold = 1U;
    for (;;) {
      __WFI();
    }
  }
#endif

#if M1_RUN_ENCODER_CAL
  {
    float add_raw;
    float add_final;
    encoder_t *m1_enc = bsp_axis(BSP_AXIS_M1)->enc;

    if (!encoder_cal_run_lock_default(bsp_axis(BSP_AXIS_M1), m1_enc, M1_POLE_PAIRS, &add_raw)) {
      Error_Handler();
    }
    DBG.enc_cal_add_raw = add_raw;
    add_final = encoder_cal_apply_pi_offset(add_raw);
    encoder_set_theta_el_offset(m1_enc, add_final);
    DBG.enc_cal_add = add_final;
  }
#else
  {
    encoder_t *m1_enc = bsp_axis(BSP_AXIS_M1)->enc;

    encoder_set_theta_el_offset(m1_enc, M1_ENCODER_OFFSET_RAD);
    DBG.enc_cal_add_raw = M1_ENCODER_OFFSET_RAD;
    DBG.enc_cal_add = M1_ENCODER_OFFSET_RAD;
    encoder_kick(m1_enc);
  }
#endif
#if !BRINGUP_ADC_TEST
  /* Second axis (TIM1) �� no ISR control loop here */
  HAL_TIM_PWM_Start(&htim1, TIM_CHANNEL_1);
  HAL_TIM_PWM_Start(&htim1, TIM_CHANNEL_2);
  HAL_TIM_PWM_Start(&htim1, TIM_CHANNEL_3);
  HAL_TIMEx_PWMN_Start(&htim1, TIM_CHANNEL_1);
  HAL_TIMEx_PWMN_Start(&htim1, TIM_CHANNEL_2);
  HAL_TIMEx_PWMN_Start(&htim1, TIM_CHANNEL_3);
  HAL_TIM_PWM_Start(&htim1, TIM_CHANNEL_4);
#endif

  /* USER CODE END 2 */

  /* Init scheduler */
  osKernelInitialize();

  /* Call init function for freertos objects (in cmsis_os2.c) */
  MX_FREERTOS_Init();

  /* Start scheduler */
  osKernelStart();

  /* We should never get here as control is now taken by the scheduler */

  /* Infinite loop */
  /* USER CODE BEGIN WHILE */
  while (1)
  {
//	  FDCAN_MOTER_START(&hfdcan1,100,200,300,400);
//	  HAL_Delay(1);
//	  HAL_UART_Transmit_DMA(&hlpuart1,tx_uart_data,sizeof(tx_uart_data));
//	  HAL_Delay(1);
//	  HAL_UART_Receive(&hlpuart1,rx_uart_data,sizeof (rx_uart_data),0xff);
//	  HAL_Delay(1);
//	  A= AS5047_read(&AS5047_spi1_PORT,ANGLEUNC);
//	  tx_uart_data[0]=A>>8;
//	  tx_uart_data[1]=A;
//	  HAL_Delay(1);
//	  B= AS5047_read(&AS5047_spi3_PORT,ANGLEUNC);
//	  tx_uart_data[2]=B>>8;
//	  tx_uart_data[3]=B;
//	  HAL_Delay(1);
    /* USER CODE END WHILE */

  }
}

void SystemClock_Config(void)
{
  RCC_OscInitTypeDef RCC_OscInitStruct = {0};
  RCC_ClkInitTypeDef RCC_ClkInitStruct = {0};

  /** Configure the main internal regulator output voltage
  */
  HAL_PWREx_ControlVoltageScaling(PWR_REGULATOR_VOLTAGE_SCALE1_BOOST);

  /** Initializes the RCC Oscillators according to the specified parameters
  * in the RCC_OscInitTypeDef structure.
  */
  RCC_OscInitStruct.OscillatorType = RCC_OSCILLATORTYPE_HSE;
  RCC_OscInitStruct.HSEState = RCC_HSE_ON;
  RCC_OscInitStruct.PLL.PLLState = RCC_PLL_ON;
  RCC_OscInitStruct.PLL.PLLSource = RCC_PLLSOURCE_HSE;
  RCC_OscInitStruct.PLL.PLLM = RCC_PLLM_DIV1;
  RCC_OscInitStruct.PLL.PLLN = 20;
  RCC_OscInitStruct.PLL.PLLP = RCC_PLLP_DIV2;
  RCC_OscInitStruct.PLL.PLLQ = RCC_PLLQ_DIV2;
  RCC_OscInitStruct.PLL.PLLR = RCC_PLLR_DIV2;
  if (HAL_RCC_OscConfig(&RCC_OscInitStruct) != HAL_OK)
  {
    Error_Handler();
  }

  /** Initializes the CPU, AHB and APB buses clocks
  */
  RCC_ClkInitStruct.ClockType = RCC_CLOCKTYPE_HCLK|RCC_CLOCKTYPE_SYSCLK
                              |RCC_CLOCKTYPE_PCLK1|RCC_CLOCKTYPE_PCLK2;
  RCC_ClkInitStruct.SYSCLKSource = RCC_SYSCLKSOURCE_PLLCLK;
  RCC_ClkInitStruct.AHBCLKDivider = RCC_SYSCLK_DIV1;
  RCC_ClkInitStruct.APB1CLKDivider = RCC_HCLK_DIV1;
  RCC_ClkInitStruct.APB2CLKDivider = RCC_HCLK_DIV1;

  if (HAL_RCC_ClockConfig(&RCC_ClkInitStruct, FLASH_LATENCY_4) != HAL_OK)
  {
    Error_Handler();
  }
}

/* USER CODE BEGIN 4 */
void HAL_ADCEx_InjectedConvCpltCallback(ADC_HandleTypeDef *hadc)
{
    UNUSED(hadc);

    if (hadc == &hadc1) {
        // ??????????????????????????
         adc_read[0] = (int16_t)hadc1.Instance->JDR1;
         DBG.opamp[0].adc_jdr1 = (uint16_t)hadc1.Instance->JDR1;
         DBG.opamp[0].adc_irq_cnt++;
         dbg_snapshot_all();
    }
	if (hadc == &hadc2) {
		app_axis_jeoc_on_injected(hadc);
	}
	if (hadc == &hadc3) {
		adc_read[1] = (int16_t)hadc3.Instance->JDR1;
		DBG.opamp[1].adc_jdr1 = (uint16_t)hadc3.Instance->JDR1;
		DBG.opamp[1].adc_irq_cnt++;
		dbg_snapshot_all();
	}
	if (hadc == &hadc5) {
		adc_read[2] = (int16_t)hadc5.Instance->JDR1;
		DBG.opamp[2].adc_jdr1 = (uint16_t)hadc5.Instance->JDR1;
		DBG.opamp[2].adc_irq_cnt++;
		dbg_snapshot_all();
	}

}
/* USER CODE END 4 */

void HAL_TIM_PeriodElapsedCallback(TIM_HandleTypeDef *htim)
{
  if (htim->Instance == TIM7) {
    HAL_IncTick();
  }
  /* USER CODE BEGIN Callback 1 */
  /* M1 控制已迁�??? ADC2 JEOC；TIM8 �??? Update IT */
  /* USER CODE END Callback 1 */
}

void Error_Handler(void)
{
  __disable_irq();
  while (1)
  {
  }
}

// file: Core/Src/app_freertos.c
/* USER CODE BEGIN Header */
/**
  ******************************************************************************
  * File Name          : app_freertos.c
  * Description        : Code for freertos applications
  ******************************************************************************
  * @attention
  *
  * Copyright (c) 2026 STMicroelectronics.
  * All rights reserved.
  *
  * This software is licensed under terms that can be found in the LICENSE file
  * in the root directory of this software component.
  * If no LICENSE file comes with this software, it is provided AS-IS.
  *
  ******************************************************************************
  */
/* USER CODE END Header */

#include "FreeRTOS.h"
#include "task.h"
#include "main.h"
#include "cmsis_os.h"

/* Definitions for defaultTask */
osThreadId_t defaultTaskHandle;
const osThreadAttr_t defaultTask_attributes = {
  .name = "defaultTask",
  .priority = (osPriority_t) osPriorityNormal,
  .stack_size = 128 * 4
};
/* Definitions for UART_DMA_DEBUG */
osThreadId_t UART_DMA_DEBUGHandle;
const osThreadAttr_t UART_DMA_DEBUG_attributes = {
  .name = "UART_DMA_DEBUG",
  .priority = (osPriority_t) osPriorityHigh,
  .stack_size = 128 * 4
};
/* Definitions for CLI_ShellTask */
osThreadId_t CLI_ShellTaskHandle;
const osThreadAttr_t CLI_ShellTask_attributes = {
  .name = "CLI_ShellTask",
  .priority = (osPriority_t) osPriorityLow,
  .stack_size = 256 * 4
};

void StartDefaultTask(void *argument);
void UART_DMA_DEBUG_TASK(void *argument);
void CLI_Shell_Task(void *argument);

void MX_FREERTOS_Init(void); /* (MISRA C 2004 rule 8.1) */

/* Hook prototypes */
void vApplicationStackOverflowHook(xTaskHandle xTask, signed char *pcTaskName);
void vApplicationMallocFailedHook(void);

/* USER CODE BEGIN 4 */
void vApplicationStackOverflowHook(xTaskHandle xTask, signed char *pcTaskName)
{
  (void)xTask;
  (void)pcTaskName;
  Error_Handler();
}
/* USER CODE END 4 */

/* USER CODE BEGIN 5 */
void vApplicationMallocFailedHook(void)
{
  Error_Handler();
}
/* USER CODE END 5 */

void MX_FREERTOS_Init(void) {

  /* Create the thread(s) */
  /* creation of defaultTask */
  defaultTaskHandle = osThreadNew(StartDefaultTask, NULL, &defaultTask_attributes);

  /* creation of UART_DMA_DEBUG */
  UART_DMA_DEBUGHandle = osThreadNew(UART_DMA_DEBUG_TASK, NULL, &UART_DMA_DEBUG_attributes);

  /* creation of CLI_ShellTask */
  CLI_ShellTaskHandle = osThreadNew(CLI_Shell_Task, NULL, &CLI_ShellTask_attributes);

}

void StartDefaultTask(void *argument)
{
  for(;;)
  {
    osDelay(1);
  }
}

__weak void UART_DMA_DEBUG_TASK(void *argument)
{
  for(;;)
  {
    osDelay(1);
  }
}

__weak void CLI_Shell_Task(void *argument)
{
  for(;;)
  {
    osDelay(1);
  }
}
